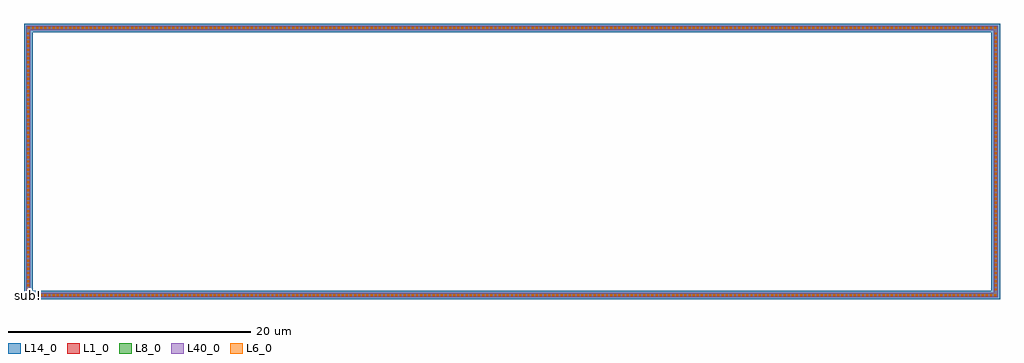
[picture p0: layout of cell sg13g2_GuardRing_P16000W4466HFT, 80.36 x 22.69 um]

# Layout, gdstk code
import gdstk
lib = gdstk.Library(unit=1e-6, precision=1e-09)
def R(c, l, rs):  # rectangles x0, y0, x1, y1
    for r in rs: c.add(gdstk.rectangle(r[:2], r[2:], *l))
def A(c, l, x, y, w, h, nx, ny, dx, dy):  # array of equal rectangles
    R(c, l, [(x+i*dx, y+j*dy, x+i*dx+w, y+j*dy+h) for i in range(nx) for j in range(ny)])
def P(c, l, *ps):  # polygons
    for p in ps: c.add(gdstk.Polygon(p, *l))
L1_0 = (1, 0)
L6_0 = (6, 0)
L8_0 = (8, 0)
L14_0 = (14, 0)
L40_0 = (40, 0)

sg13g2_guardring_p16000w = lib.new_cell('sg13g2_GuardRing_P16000W4466HFT')
P(sg13g2_guardring_p16000w, L1_0, [(-40,-11.165),(-40,10.825),(-39.66,10.825),(-39.66,-10.825),(39.66,-10.825),(39.66,10.825),(-40,10.825),(-40,11.165),(40,11.165),(40,-11.165)])
A(sg13g2_guardring_p16000w, L6_0, -39.86, -11.075, 0.16, 0.16, 235, 2, 0.34, 21.99)
A(sg13g2_guardring_p16000w, L6_0, -39.91, -10.62, 0.16, 0.16, 1, 63, 0, 0.34)
A(sg13g2_guardring_p16000w, L6_0, 39.75, -10.62, 0.16, 0.16, 1, 63, 0, 0.34)
P(sg13g2_guardring_p16000w, L8_0, [(-40,-11.165),(-40,10.825),(-39.66,10.825),(-39.66,-10.825),(39.66,-10.825),(39.66,10.825),(-40,10.825),(-40,11.165),(40,11.165),(40,-11.165)])
P(sg13g2_guardring_p16000w, L14_0, [(-40.18,-11.345),(-40.18,10.645),(-39.48,10.645),(-39.48,-10.645),(39.48,-10.645),(39.48,10.645),(-40.18,10.645),(-40.18,11.345),(40.18,11.345),(40.18,-11.345)])
P(sg13g2_guardring_p16000w, L40_0, [(-40,-11.165),(-40,10.825),(-39.66,10.825),(-39.66,-10.825),(39.66,-10.825),(39.66,10.825),(-40,10.825),(-40,11.165),(40,11.165),(40,-11.165)])
sg13g2_guardring_p16000w.add(gdstk.Label('sub!', (-39.83,-10.995), layer=63, texttype=0))

lib.write_gds('sg13g2_GuardRing_P16000W4466HFT.gds')
